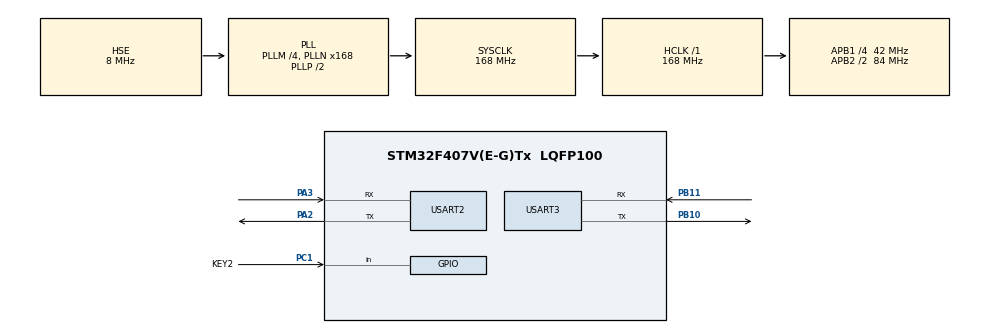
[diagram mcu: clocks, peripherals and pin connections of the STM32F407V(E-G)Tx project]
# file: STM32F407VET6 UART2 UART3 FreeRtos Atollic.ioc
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FREERTOS.Tasks01=defaultTask,24,512,StartDefaultTask,Default,NULL,Dynamic,NULL,NULL;myTask02,25,512,StartTask02,Default,NULL,Dynamic,NULL,NULL
FREERTOS.configMINIMAL_STACK_SIZE=512
Mcu.Family=STM32F4
Mcu.Name=STM32F407V(E-G)Tx
Mcu.Package=LQFP100
NVIC.PriorityGroup=NVIC_PRIORITYGROUP_4
NVIC.TIM8_TRG_COM_TIM14_IRQn=true\:0\:0\:false\:false\:true\:false\:false\:true
NVIC.TimeBase=TIM8_TRG_COM_TIM14_IRQn
NVIC.TimeBaseIP=TIM14
NVIC.USART2_IRQn=true\:5\:0\:false\:false\:true\:true\:true\:true
NVIC.USART3_IRQn=true\:5\:0\:false\:false\:true\:true\:true\:true
PA13.Mode=Serial_Wire
PA13.Signal=SYS_JTMS-SWDIO
PA14.Mode=Serial_Wire
PA14.Signal=SYS_JTCK-SWCLK
PA2.Mode=Asynchronous
PA2.Signal=USART2_TX
PA3.Mode=Asynchronous
PA3.Signal=USART2_RX
PB10.Mode=Asynchronous
PB10.Signal=USART3_TX
PB11.Mode=Asynchronous
PB11.Signal=USART3_RX
PC1.GPIO_Label=KEY2
PC1.GPIO_PuPd=GPIO_PULLDOWN
PC1.Signal=GPIO_Input
PH0-OSC_IN.Mode=HSE-External-Oscillator
PH0-OSC_IN.Signal=RCC_OSC_IN
PH1-OSC_OUT.Mode=HSE-External-Oscillator
PH1-OSC_OUT.Signal=RCC_OSC_OUT
ProjectManager.HeapSize=0x3000
ProjectManager.StackSize=0x5000
ProjectManager.TargetToolchain=TrueSTUDIO
RCC.48MHZClocksFreq_Value=84000000
RCC.AHBFreq_Value=168000000
RCC.APB1CLKDivider=RCC_HCLK_DIV4
RCC.APB1Freq_Value=42000000
RCC.APB1TimFreq_Value=84000000
RCC.APB2CLKDivider=RCC_HCLK_DIV2
RCC.APB2Freq_Value=84000000
RCC.APB2TimFreq_Value=168000000
RCC.CortexFreq_Value=168000000
RCC.HCLKFreq_Value=168000000
RCC.HSE_VALUE=8000000
RCC.HSI_VALUE=16000000
RCC.LSE_VALUE=32768
RCC.PLLM=4
RCC.PLLN=168
RCC.PLLSourceVirtual=RCC_PLLSOURCE_HSE
RCC.SYSCLKFreq_VALUE=168000000
RCC.SYSCLKSource=RCC_SYSCLKSOURCE_PLLCLK
RCC.VCOOutputFreq_Value=336000000
USART2.VirtualMode=VM_ASYNC
USART3.VirtualMode=VM_ASYNC
VP_FREERTOS_VS_CMSIS_V2.Mode=CMSIS_V2
VP_SYS_VS_tim14.Mode=TIM14
board=custom

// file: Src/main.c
/* USER CODE BEGIN Header */
/**
 ******************************************************************************
 * @file           : main.c
 * @brief          : Main program body
 ******************************************************************************
 * @attention
 *
 * <h2><center>&copy; Copyright (c) 2019 STMicroelectronics.
 * All rights reserved.</center></h2>
 *
 * This software component is licensed by ST under BSD 3-Clause license,
 * the "License"; You may not use this file except in compliance with the
 * License. You may obtain a copy of the License at:
 *                        opensource.org/licenses/BSD-3-Clause
 *
 ******************************************************************************
 */
/* USER CODE END Header */

#include "main.h"
#include "cmsis_os.h"

/* USER CODE BEGIN Includes */

#include "task.h"
#include "semphr.h"

#include "at_commands.h"
/* USER CODE END Includes */

UART_HandleTypeDef huart2;
UART_HandleTypeDef huart3;

osThreadId_t defaultTaskHandle;
osThreadId_t myTask02Handle;
/* USER CODE BEGIN PV */

UART_HandleTypeDef *phuartMaster;
UART_HandleTypeDef *phuartSlave;

/* USER CODE END PV */

void SystemClock_Config(void);
static void MX_GPIO_Init(void);
static void MX_USART2_UART_Init(void);
static void MX_USART3_UART_Init(void);
void StartDefaultTask(void *argument); // for v2
void StartTask02(void *argument); // for v2

/* USER CODE BEGIN 0 */
volatile uint8_t txMaster[200];
volatile uint8_t rxMasterISR[200];
volatile uint8_t rx1Master[200];
volatile uint8_t MasterToTransfer=0;
volatile uint16_t wasReaddenMaster=0;
volatile uint8_t echoON=1;

volatile uint8_t txSlave[200];
volatile uint8_t rxSlaveISR[200];
volatile uint8_t SlaveToTransfer=0;
volatile uint8_t rx1Slave[200];

//volatile uint8_t tx1[200];

//volatile uint8_t txCmpl=0;
//volatile uint8_t rxCmpl=0;

xQueueHandle rxQueueMaster;
xQueueHandle rxQueueSlave;

volatile uint16_t toRead=1;

/* The handle of the binary semaphore. */

uint8_t* stateUART(HAL_UART_StateTypeDef State);

/* USER CODE END 0 */

int main(void)
{

	/* MCU Configuration--------------------------------------------------------*/

	/* Reset of all peripherals, Initializes the Flash interface and the Systick. */
	HAL_Init();

	/* Configure the system clock */
	SystemClock_Config();

	/* Initialize all configured peripherals */
	MX_GPIO_Init();
	MX_USART2_UART_Init();
	MX_USART3_UART_Init();
	/* USER CODE BEGIN 2 */
	phuartMaster=(UART_HandleTypeDef *)&huart2;
	phuartSlave=(UART_HandleTypeDef *)&huart3;

	printf(" start\n");
	/* USER CODE END 2 */

	osKernelInitialize(); // Initialize CMSIS-RTOS

	/* USER CODE BEGIN RTOS_SEMAPHORES */
	/* add semaphores, ... */
	//txSem = xSemaphoreCreateBinary();
	//rxSem = xSemaphoreCreateBinary();
	printf("xSemaphoreCreateBinary \n");

	/* USER CODE END RTOS_SEMAPHORES */

	/* USER CODE BEGIN RTOS_QUEUES */
	/* add queues, ... */
	//strout_Queue = osMailCreate(osMailQ(stroutqueue), NULL);
	//osMessageQDef(usart_Queue, QUEUE_SIZE, uint8_t);
	//USART_Queue = osMessageCreate(osMessageQ(usart_Queue), NULL);
	/* USER CODE END RTOS_QUEUES */

	/* Create the thread(s) */
	/* definition and creation of defaultTask */
	const osThreadAttr_t defaultTask_attributes = {
			.name = "defaultTask",
			.priority = (osPriority_t) osPriorityNormal,
			.stack_size = 512
	};
	defaultTaskHandle = osThreadNew(StartDefaultTask, NULL, &defaultTask_attributes);

	/* definition and creation of myTask02 */
	const osThreadAttr_t myTask02_attributes = {
			.name = "myTask02",
			.priority = (osPriority_t) osPriorityNormal1,
			.stack_size = 512
	};
	myTask02Handle = osThreadNew(StartTask02, NULL, &myTask02_attributes);

	/* Start scheduler */
	osKernelStart();

	/* We should never get here as control is now taken by the scheduler */

	/* Infinite loop */
	while (1)
	{

	}
}

void SystemClock_Config(void)
{
	RCC_OscInitTypeDef RCC_OscInitStruct = {0};
	RCC_ClkInitTypeDef RCC_ClkInitStruct = {0};

	/** Configure the main internal regulator output voltage
	 */
	__HAL_RCC_PWR_CLK_ENABLE();
	__HAL_PWR_VOLTAGESCALING_CONFIG(PWR_REGULATOR_VOLTAGE_SCALE1);
	/** Initializes the CPU, AHB and APB busses clocks
	 */
	RCC_OscInitStruct.OscillatorType = RCC_OSCILLATORTYPE_HSE;
	RCC_OscInitStruct.HSEState = RCC_HSE_ON;
	RCC_OscInitStruct.PLL.PLLState = RCC_PLL_ON;
	RCC_OscInitStruct.PLL.PLLSource = RCC_PLLSOURCE_HSE;
	RCC_OscInitStruct.PLL.PLLM = 4;
	RCC_OscInitStruct.PLL.PLLN = 168;
	RCC_OscInitStruct.PLL.PLLP = RCC_PLLP_DIV2;
	RCC_OscInitStruct.PLL.PLLQ = 4;
	if (HAL_RCC_OscConfig(&RCC_OscInitStruct) != HAL_OK)
	{
		Error_Handler();
	}
	/** Initializes the CPU, AHB and APB busses clocks
	 */
	RCC_ClkInitStruct.ClockType = RCC_CLOCKTYPE_HCLK|RCC_CLOCKTYPE_SYSCLK
			|RCC_CLOCKTYPE_PCLK1|RCC_CLOCKTYPE_PCLK2;
	RCC_ClkInitStruct.SYSCLKSource = RCC_SYSCLKSOURCE_PLLCLK;
	RCC_ClkInitStruct.AHBCLKDivider = RCC_SYSCLK_DIV1;
	RCC_ClkInitStruct.APB1CLKDivider = RCC_HCLK_DIV4;
	RCC_ClkInitStruct.APB2CLKDivider = RCC_HCLK_DIV2;

	if (HAL_RCC_ClockConfig(&RCC_ClkInitStruct, FLASH_LATENCY_5) != HAL_OK)
	{
		Error_Handler();
	}
}

static void MX_USART2_UART_Init(void)
{

	huart2.Instance = USART2;
	huart2.Init.BaudRate = 115200;
	huart2.Init.WordLength = UART_WORDLENGTH_8B;
	huart2.Init.StopBits = UART_STOPBITS_1;
	huart2.Init.Parity = UART_PARITY_NONE;
	huart2.Init.Mode = UART_MODE_TX_RX;
	huart2.Init.HwFlowCtl = UART_HWCONTROL_NONE;
	huart2.Init.OverSampling = UART_OVERSAMPLING_16;
	if (HAL_UART_Init(&huart2) != HAL_OK)
	{
		Error_Handler();
	}

}

static void MX_USART3_UART_Init(void)
{

	huart3.Instance = USART3;
	huart3.Init.BaudRate = 115200;
	huart3.Init.WordLength = UART_WORDLENGTH_8B;
	huart3.Init.StopBits = UART_STOPBITS_1;
	huart3.Init.Parity = UART_PARITY_NONE;
	huart3.Init.Mode = UART_MODE_TX_RX;
	huart3.Init.HwFlowCtl = UART_HWCONTROL_NONE;
	huart3.Init.OverSampling = UART_OVERSAMPLING_16;
	if (HAL_UART_Init(&huart3) != HAL_OK)
	{
		Error_Handler();
	}

}

static void MX_GPIO_Init(void)
{
	GPIO_InitTypeDef GPIO_InitStruct = {0};

	/* GPIO Ports Clock Enable */
	__HAL_RCC_GPIOH_CLK_ENABLE();
	__HAL_RCC_GPIOC_CLK_ENABLE();
	__HAL_RCC_GPIOA_CLK_ENABLE();
	__HAL_RCC_GPIOB_CLK_ENABLE();

	/*Configure GPIO pin : KEY2_Pin */
	GPIO_InitStruct.Pin = KEY2_Pin;
	GPIO_InitStruct.Mode = GPIO_MODE_INPUT;
	GPIO_InitStruct.Pull = GPIO_PULLDOWN;
	HAL_GPIO_Init(KEY2_GPIO_Port, &GPIO_InitStruct);

}

/* USER CODE BEGIN 4 */
void HAL_UART_TxCpltCallback(UART_HandleTypeDef *huart)
{
	uint16_t TxXferCount=huart->TxXferCount;
	uint16_t TxXferSize=huart->TxXferSize;

	if (huart-> Instance == USART2)
	{
		if(TxXferSize == 0 ) // какая-то ошибка
		{
			//printf(". HAL_UART_TxCpltCallback count=%d  size=%d \n",count,size);
			HAL_UART_Transmit_IT(huart, (uint8_t *)(txMaster),MasterToTransfer);
		}
		else if (TxXferSize > 0 & TxXferCount < TxXferSize)
		{
			if(TxXferCount>0)
				HAL_UART_Transmit_IT(huart, (uint8_t *)(txMaster+TxXferSize-TxXferCount),TxXferCount);
			/*else
				txCmpl=1;*/
		}
	}
	else if (huart-> Instance == USART3) // SLAVE
	{
		if(TxXferSize == 0 ) // какая-то ошибка
		{
			//printf(". HAL_UART_TxCpltCallback count=%d  size=%d \n",count,size);
			HAL_UART_Transmit_IT(huart, (uint8_t *)(txSlave),SlaveToTransfer);

		}
		else if (TxXferSize > 0 & TxXferCount < TxXferSize)
		{
			if(TxXferCount>0)
				HAL_UART_Transmit_IT(huart, (uint8_t *)(txSlave+TxXferSize-TxXferCount),TxXferCount);
			/*else
				txCmpl=1;*/

			//printf("USART2 HAL_UART_TxCpltCallback TxXferCount=%d  TxXferSize=%d \n",count,size);
		}
	}

}

void HAL_UART_RxCpltCallback(UART_HandleTypeDef *huart)
{
	// ВАЖНО , ЧТОБЫ HAL_UART_RxCpltCallback завершилась до прихода следующего байта !!!
	// точнее пока следующий байт приходит , у нас еще есть время, а вот следующий за следующим уже начнет затирать перед ним
	// По-этому все здесь делаем быстро !
	// Иначе ...

	if (huart-> Instance == USART2)
	{
		uint16_t RxXferCount=huart->RxXferCount;
		uint16_t RxXferSize=huart->RxXferSize;
		//printf("HAL_UART_RxCpltCallback !");

		if(RxXferSize == 0) // похоже на сбой
		{
			printf("HAL_UART_RxCpltCallback Master????");
		}
		else if(RxXferSize > 0 && RxXferCount < RxXferSize)
		{
			BaseType_t xHigherPriorityTaskWoken;
			xHigherPriorityTaskWoken = pdFALSE; // We have not woken a task at the start of the ISR.

			for(int ii=0; ii<  (RxXferSize-RxXferCount); ii++)
			{
				xQueueSendToBackFromISR(rxQueueMaster, &rxMasterISR[ii], &xHigherPriorityTaskWoken );
			}

			/*we can switch context if necessary. */
			if( xHigherPriorityTaskWoken )
			{
				portYIELD_FROM_ISR(xHigherPriorityTaskWoken); //для ARM7
			}
		}
		HAL_UART_Receive_IT(huart, (uint8_t *)(rxMasterISR),1);
	}
	else if (huart-> Instance == USART3)
	{
		uint16_t RxXferCount=huart->RxXferCount;
		uint16_t RxXferSize=huart->RxXferSize;

		if(RxXferSize == 0) // похоже на сбой
		{
			printf("HAL_UART_RxCpltCallback Slave????");
		}
		else if(RxXferSize > 0 && RxXferCount < RxXferSize)
		{
			BaseType_t xHigherPriorityTaskWoken;
			xHigherPriorityTaskWoken = pdFALSE; // We have not woken a task at the start of the ISR.

			for(int ii=0; ii<  (RxXferSize-RxXferCount); ii++)
			{
				xQueueSendToBackFromISR(rxQueueSlave, &rxSlaveISR[ii], &xHigherPriorityTaskWoken );
			}

			/*we can switch context if necessary. */
			if( xHigherPriorityTaskWoken )
			{
				// Actual macro used here is port specific.
				//taskYIELD_FROM_ISR ();
				portYIELD_FROM_ISR(xHigherPriorityTaskWoken); //для ARM7
				//taskYIELD() // для AVR
			}
			//printf("HAL_UART_RxCpltCallback Slave\n");
		}
		HAL_UART_Receive_IT(huart, (uint8_t *)(rxSlaveISR),1);
	}
}

void HAL_UART_ErrorCallback(UART_HandleTypeDef *huart)
{
	if (huart-> Instance == USART2)
	{
		uint16_t TxXferCount=huart->TxXferCount;
		uint16_t TxXferSize=huart->TxXferSize;
		printf("> HAL_UART_ErrorCallback USART2\n");
		printf("> TxXferCount=%d TxXferSize=%d\n",TxXferCount,TxXferSize);
	}
	else if (huart-> Instance == USART3)
	{
		uint16_t RxXferCount=huart->RxXferCount;
		uint16_t RxXferSize=huart->RxXferSize;

		printf("< HAL_UART_ErrorCallback USART3\n");
		printf("< RxXferCount=%d RxXferSize=%d\n",RxXferCount,RxXferSize);

		HAL_UART_Receive_IT(phuartSlave, (uint8_t *)(rxSlaveISR),1);
		// проблема в приемном буфере, ПЕРЕПОЛНЕНИЕ, не все вытащили ДО прихода следующей пачки данных
	}

}
void HAL_UART_AbortReceiveCpltCallback(UART_HandleTypeDef *huart)
{
	/*if (huart-> Instance == USART2)
	{*/
	printf("HAL_UART_AbortReceiveCpltCallback \n");
	//}
}
void HAL_UART_AbortTransmitCpltCallback(UART_HandleTypeDef *huart)
{
	/*if (huart-> Instance == USART2)
	{*/
	printf("HAL_UART_AbortTransmitCpltCallback \n");
	//}
}
void HAL_UART_AbortCpltCallback(UART_HandleTypeDef *huart)
{
	/*if (huart-> Instance == USART2)
	{*/
	printf("HAL_UART_AbortCpltCallback \n");
	//}
}

uint8_t* stateUART(HAL_UART_StateTypeDef State)
{
	switch(State)
	{
	case HAL_UART_STATE_RESET: 		return "HAL_UART_STATE_RESET";
	case HAL_UART_STATE_READY: 		return "HAL_UART_STATE_READY";
	case HAL_UART_STATE_BUSY: 		return "HAL_UART_STATE_BUSY";
	case HAL_UART_STATE_BUSY_TX: 	return "HAL_UART_STATE_BUSY_TX";
	case HAL_UART_STATE_BUSY_RX: 	return "HAL_UART_STATE_BUSY_RX";
	case HAL_UART_STATE_BUSY_TX_RX: return "HAL_UART_STATE_BUSY_TX_RX";
	case HAL_UART_STATE_TIMEOUT: 	return "HAL_UART_STATE_TIMEOUT";
	case HAL_UART_STATE_ERROR: 		return "HAL_UART_STATE_ERROR";
	default : 						return "?????";
	}
	return "???";
}

/* USER CODE END 4 */

void StartDefaultTask(void *argument)
{

	/* USER CODE BEGIN 5 */
	/* Infinite loop */
	HAL_StatusTypeDef res;
	uint8_t jj=0;

	rxQueueMaster = xQueueCreate( 50, sizeof( uint8_t ) );
	if( rxQueueMaster == NULL )
		printf("Queue was not created and must not be used.\n");

	printf("StartDefaultTask\n");

	for(int ii=0; ii< sizeof(txMaster); ii++)
		txMaster[ii]=ii;

	MasterToTransfer=0;

	// Обязательно сначала запускаем прием!
	if(res=HAL_UART_Receive_IT(phuartMaster, (uint8_t *)rxMasterISR, 1) == HAL_OK)
		; //printf("HAL_OK\n");
	else if(res = HAL_ERROR)
		printf("Master < HAL_ERROR\n");
	else  if(res = HAL_BUSY)
		printf("Master < HAL_BUSY\n");

	const TickType_t xMaxExpectedBlockTime = pdMS_TO_TICKS( 50 );

	uint8_t received=0;

	for(;;)
	{
		if(HAL_GPIO_ReadPin(KEY2_GPIO_Port, KEY2_Pin) == GPIO_PIN_SET)
		{

			for(int ii=0; ii< 1; ii++) // это чтобы дребезга не было
				vTaskDelay(250);

			printf("\n ---- %d -----\n",jj);
			printf("Master send bytes\n");

			wasReaddenMaster=0;
			MasterToTransfer=11;

			if(jj*(MasterToTransfer+1) >= sizeof(txMaster) )
			{
				MasterToTransfer=jj*(MasterToTransfer+1) -  sizeof(txMaster); /// остаток массива
			}

			if( MasterSendATCommand (phuartMaster, (uint8_t *)(txMaster+jj*MasterToTransfer), MasterToTransfer,(uint8_t *)rx1Master, &wasReaddenMaster,rxQueueMaster, xMaxExpectedBlockTime, echoON) != 1)
				;//printf("result error\n");

			jj++;
		}
		else
		{
			received=0;
			MasterToTransfer=0;
			received = MasterGetFromQueue(rxQueueMaster, (uint8_t*)txMaster, MasterToTransfer,
					(uint8_t*)rx1Master,  xMaxExpectedBlockTime, 0);

			if(received > 0)
			{
				printf("Master (%d) <- ",received);

				for(int ii=0; ii< received ; ii++)
				{
					printf("%0.2X ",rx1Master[ii]);
				}

				printf("\n");
			}
		}

		vTaskDelay(10);
	}

	/* USER CODE END 5 */
}

void StartTask02(void *argument)
{
	/* USER CODE BEGIN StartTask02 */
	/* Infinite loop */

	HAL_StatusTypeDef res;

	rxQueueSlave = xQueueCreate( 50, sizeof( uint8_t ) );
	if( rxQueueSlave == NULL )
		printf("rxQueueSlave Queue was not created and must not be used.\n");

	printf("StartTask02 Slave\n");

	// Обязательно сначала запускаем прием
	if(res=HAL_UART_Receive_IT(phuartSlave, (uint8_t *)rxSlaveISR, 1) == HAL_OK)
		; //printf("HAL_OK\n");
	else if(res = HAL_ERROR)
		printf("Slave HAL_ERROR\n");
	else  if(res = HAL_BUSY)
		printf("Slave HAL_BUSY\n");

	const TickType_t xMaxExpectedBlockTime = pdMS_TO_TICKS( 250 );

	for(;;)
	{
		uint8_t received=0;
		received = SlaveGetFromQueue(rxQueueSlave, (uint8_t*)rx1Slave,  xMaxExpectedBlockTime);
		if(received > 0)
		{
			printf("Slave %d -> ",received);

			for(int ii=0; ii< received ; ii++)
			{
				printf("%0.2X ",rx1Slave[ii]);
				txSlave[ii]=rx1Slave[ii];
			}

			printf("\n");

			if (MastertoUart(phuartSlave, (uint8_t *)txSlave,received ) != HAL_OK)
				;

		}

		vTaskDelay(1);
	}
	/* USER CODE END StartTask02 */
}

void HAL_TIM_PeriodElapsedCallback(TIM_HandleTypeDef *htim)
{
	if (htim->Instance == TIM14) {
		HAL_IncTick();
	}
}

void Error_Handler(void)
{
}

/************************ (C) COPYRIGHT STMicroelectronics *****END OF FILE****/
